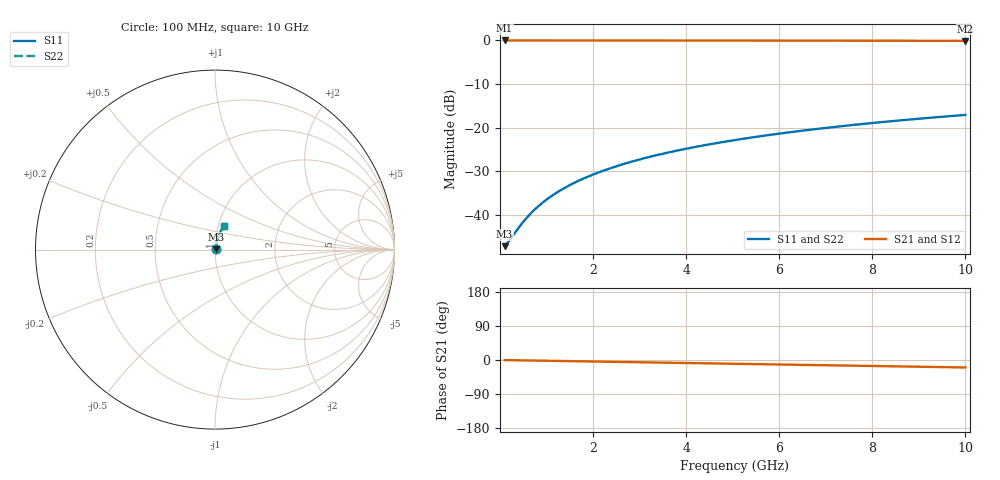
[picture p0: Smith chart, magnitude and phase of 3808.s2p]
# Hz S RI R 50.00
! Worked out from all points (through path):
!   100 points, 100 MHz to 10 GHz, reference 50 ohm
!   highest |S21| = -0.04 dB at 100 MHz (marker M1); lowest = -0.1 dB at 10 GHz (marker M2)
!   group delay of S21, straight-line fit = 5.48 ps
!   lowest |S11| = -47.2 dB at 100 MHz (marker M3), VSWR 1.01, Z = 50.4 + j0.143 ohm
!   |S11| at or under -10 dB: start of sweep to end of sweep
!   |S22| runs from -47.2 to -17.1 dB; largest |S21 - S12| = 0
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1e8  0.00412 0.00142  0.9959 -0.00344  0.9959 -0.00344  0.00412 0.00142
2e8  0.00417 0.00283  0.9958 -0.00688  0.9958 -0.00688  0.00417 0.00283
4e8  0.00426 0.00566  0.9957 -0.0138  0.9957 -0.0138  0.00426 0.00566
5e8  0.00432 0.00707  0.9956 -0.0172  0.9956 -0.0172  0.00432 0.00707
6e8  0.00438 0.00849  0.9955 -0.0206  0.9955 -0.0206  0.00438 0.00849
7e8  0.00445 0.0099  0.9954 -0.0241  0.9954 -0.0241  0.00445 0.0099
8e8  0.00454 0.0113  0.9953 -0.0275  0.9953 -0.0275  0.00454 0.0113
1e9  0.00473 0.0141  0.995 -0.0344  0.995 -0.0344  0.00473 0.0141
1.2e9  0.00496 0.017  0.9947 -0.0413  0.9947 -0.0413  0.00496 0.017
1.5e9  0.00538 0.0212  0.9941 -0.0516  0.9941 -0.0516  0.00538 0.0212
1.8e9  0.00588 0.0254  0.9934 -0.0618  0.9934 -0.0618  0.00588 0.0254
2.1e9  0.00646 0.0296  0.9926 -0.0721  0.9926 -0.0721  0.00646 0.0296
2.5e9  0.00738 0.0352  0.9913 -0.0858  0.9913 -0.0858  0.00738 0.0352
2.9e9  0.00844 0.0407  0.9898 -0.0995  0.9898 -0.0995  0.00844 0.0407
3.4e9  0.00999 0.0476  0.9876 -0.1165  0.9876 -0.1165  0.00999 0.0476
4.2e9  0.013 0.0585  0.9833 -0.1436  0.9833 -0.1436  0.013 0.0585
5.1e9  0.017 0.0705  0.9775 -0.1739  0.9775 -0.1739  0.017 0.0705
5.9e9  0.0212 0.081  0.9715 -0.2006  0.9715 -0.2006  0.0212 0.081
6.7e9  0.026 0.0911  0.9646 -0.227  0.9646 -0.227  0.026 0.0911
7.5e9  0.0313 0.101  0.9569 -0.2531  0.9569 -0.2531  0.0313 0.101
8.4e9  0.0379 0.1118  0.9473 -0.2821  0.9473 -0.2821  0.0379 0.1118
1e10  0.0512 0.1297  0.9278 -0.3325  0.9278 -0.3325  0.0512 0.1297
